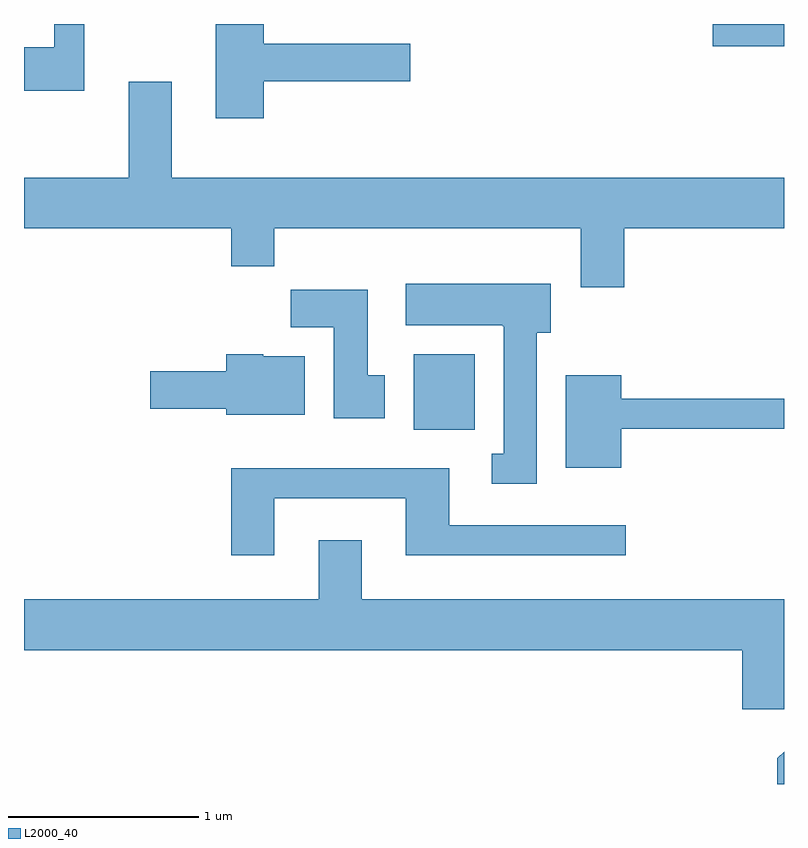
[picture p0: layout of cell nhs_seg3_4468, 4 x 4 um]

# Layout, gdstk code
import gdstk
lib = gdstk.Library(unit=1e-6, precision=1e-09)
def R(c, l, rs):  # rectangles x0, y0, x1, y1
    for r in rs: c.add(gdstk.rectangle(r[:2], r[2:], *l))
def P(c, l, *ps):  # polygons
    for p in ps: c.add(gdstk.Polygon(p, *l))
L2000_40 = (2000, 40)

nhs_seg3_4468 = lib.new_cell('nhs_seg3_4468')
R(nhs_seg3_4468, L2000_40, [(317.661,1213.756,317.984,1214.154), (319.236,1215.776,319.611,1215.892)])
P(nhs_seg3_4468, L2000_40, [(316.874,1215.591),(317.644,1215.591),(317.644,1215.789),(316.874,1215.789),(316.874,1215.892),(316.621,1215.892),(316.621,1215.396),(316.874,1215.396)],
  [(315.929,1215.892),(315.771,1215.892),(315.771,1215.769),(315.611,1215.769),(315.611,1215.541),(315.929,1215.541)],
  [(318.769,1214.816),(319.611,1214.816),(319.611,1215.084),(316.389,1215.084),(316.389,1215.589),(316.161,1215.589),(316.161,1215.084),(315.611,1215.084),(315.611,1214.816),(316.701,1214.816),(316.701,1214.616),(316.929,1214.616),(316.929,1214.816),(318.541,1214.816),(318.541,1214.506),(318.769,1214.506)],
  [(318.309,1214.266),(318.384,1214.266),(318.384,1214.524),(317.621,1214.524),(317.621,1214.306),(318.13,1214.306),(318.13,1214.3),(318.136,1214.3),(318.136,1213.629),(318.073,1213.629),(318.073,1213.471),(318.309,1213.471)],
  [(317.509,1214.044),(317.419,1214.044),(317.419,1214.494),(317.016,1214.494),(317.016,1214.296),(317.241,1214.296),(317.241,1213.816),(317.509,1213.816)],
  [(317.089,1214.144),(316.87,1214.144),(316.87,1214.154),(316.676,1214.154),(316.676,1214.064),(316.276,1214.064),(316.276,1213.866),(316.676,1213.866),(316.676,1213.836),(317.089,1213.836)],
  [(318.754,1213.761),(319.611,1213.761),(319.611,1213.919),(318.754,1213.919),(318.754,1214.044),(318.461,1214.044),(318.461,1213.556),(318.754,1213.556)],
  [(316.929,1213.396),(317.621,1213.396),(317.621,1213.096),(318.778,1213.096),(318.778,1213.254),(317.849,1213.254),(317.849,1213.554),(316.701,1213.554),(316.701,1213.096),(316.929,1213.096)],
  [(319.611,1212.864),(317.389,1212.864),(317.389,1213.174),(317.161,1213.174),(317.161,1212.864),(315.611,1212.864),(315.611,1212.596),(319.391,1212.596),(319.391,1212.286),(319.611,1212.286)],
  [(319.611,1212.062),(319.576,1212.027),(319.576,1211.892),(319.611,1211.892)])

lib.write_gds('nhs_seg3_4468.gds')
